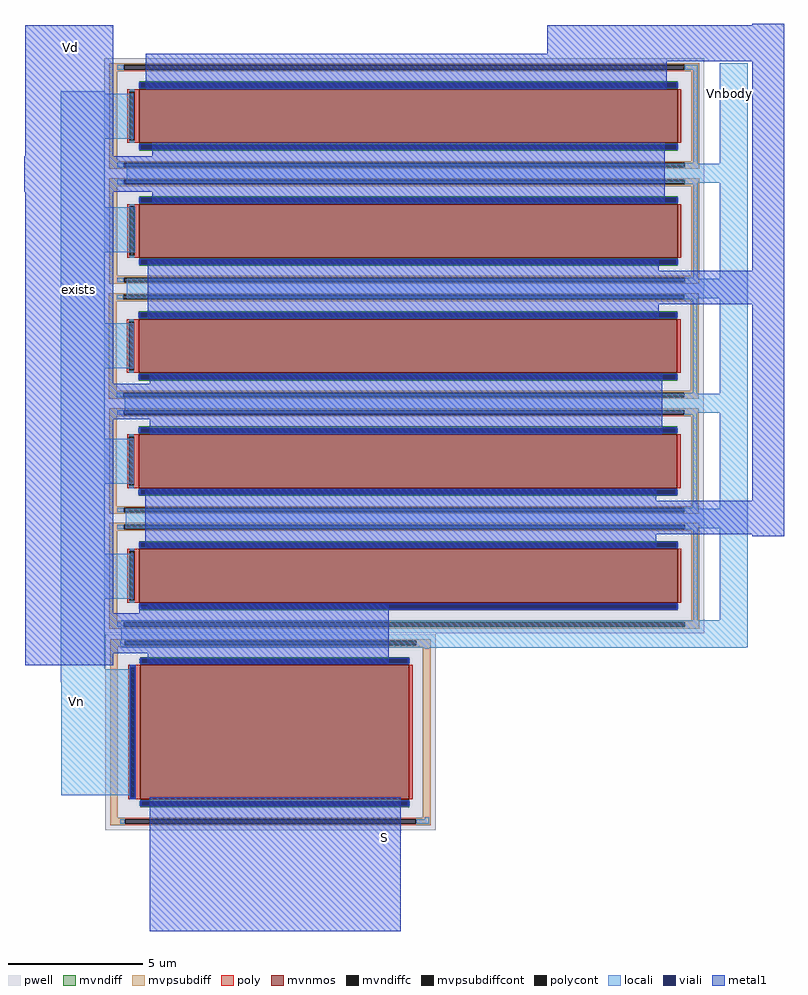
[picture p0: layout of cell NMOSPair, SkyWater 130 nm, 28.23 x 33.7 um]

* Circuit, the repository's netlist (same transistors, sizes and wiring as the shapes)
* SPICE3 file created from NMOSPair.ext - technology: sky130A

.subckt NMOSPair S Vn Vnbody Vd
X0 m1_n2132_2872# Vn Vd Vnbody sky130_fd_pr__nfet_g5v0d10v5 ad=0p pd=0u as=3.19e+13p ps=2.2348e+08u w=2e+07u l=2e+06u
X1 m1_n2132_2872# Vn Vd Vnbody sky130_fd_pr__nfet_g5v0d10v5 ad=0p pd=0u as=0p ps=0u w=2e+07u l=2e+06u
X2 Vd Vn S Vnbody sky130_fd_pr__nfet_g5v0d10v5 ad=0p pd=0u as=2.9e+12p ps=2.058e+07u w=1e+07u l=5e+06u
X3 Vd Vn m1_n2132_2872# Vnbody sky130_fd_pr__nfet_g5v0d10v5 ad=0p pd=0u as=0p ps=0u w=2e+07u l=2e+06u
X4 m1_n2132_2872# Vn Vd Vnbody sky130_fd_pr__nfet_g5v0d10v5 ad=0p pd=0u as=0p ps=0u w=2e+07u l=2e+06u
X5 Vd Vn m1_n2132_2872# Vnbody sky130_fd_pr__nfet_g5v0d10v5 ad=0p pd=0u as=0p ps=0u w=2e+07u l=2e+06u
.ends

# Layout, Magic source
magic
tech sky130A
magscale 1 2
<< locali >>
rect -2762 6244 -2434 6260
rect -2762 5910 -2218 6244
rect -2762 5398 -2434 5910
rect 2134 5724 2342 6470
rect -2270 5580 2342 5724
rect -2762 5064 -2208 5398
rect -2762 4538 -2434 5064
rect 2134 4868 2342 5580
rect -2270 4724 2342 4868
rect -2762 4204 -2218 4538
rect -2762 3680 -2434 4204
rect 2134 4016 2342 4724
rect -2284 3872 2342 4016
rect -2762 3346 -2220 3680
rect -2762 2826 -2434 3346
rect 2134 3160 2342 3872
rect -2278 3016 2342 3160
rect -2762 2492 -2218 2826
rect -2762 1968 -2434 2492
rect 2134 2330 2342 3016
rect -2312 2130 2342 2330
rect -2312 2128 2326 2130
rect -2762 1872 -2206 1968
rect -2758 1030 -2206 1872
<< metal1 >>
rect -3026 5780 -2370 6752
rect 2376 6750 2612 6762
rect 852 6540 2612 6750
rect -2128 6486 2612 6540
rect -2128 6276 1740 6486
rect -2082 5780 1726 5878
rect -3034 5516 1726 5780
rect -3026 4088 -2370 5516
rect -2082 5426 1726 5516
rect -2114 4928 1680 5008
rect 2376 4928 2612 6486
rect -2114 4680 2612 4928
rect -2114 4570 1680 4680
rect -2100 4088 1708 4166
rect -3026 3824 1708 4088
rect -3026 2384 -2370 3824
rect -2100 3714 1708 3824
rect -2132 3218 1662 3310
rect 2376 3218 2612 4680
rect -2132 2970 2612 3218
rect -2132 2872 1662 2970
rect 2376 2954 2612 2970
rect -2114 2430 -326 2448
rect -2178 2384 -326 2430
rect -3026 2088 -326 2384
rect -3026 1998 -2370 2088
rect -2114 2004 -326 2088
rect -2100 22 -234 1016
use sky130_fd_pr__nfet_g5v0d10v5_HYQESV  sky130_fd_pr__nfet_g5v0d10v5_HYQESV_0
transform 0 -1 -209 1 0 6077
box -428 -2227 428 2227
use sky130_fd_pr__nfet_g5v0d10v5_HYQESV  sky130_fd_pr__nfet_g5v0d10v5_HYQESV_1
transform 0 -1 -209 1 0 2662
box -428 -2227 428 2227
use sky130_fd_pr__nfet_g5v0d10v5_HYQESV  sky130_fd_pr__nfet_g5v0d10v5_HYQESV_2
transform 0 -1 -211 1 0 3513
box -428 -2227 428 2227
use sky130_fd_pr__nfet_g5v0d10v5_HYQESV  sky130_fd_pr__nfet_g5v0d10v5_HYQESV_3
transform 0 -1 -212 1 0 4369
box -428 -2227 428 2227
use sky130_fd_pr__nfet_g5v0d10v5_HYQESV  sky130_fd_pr__nfet_g5v0d10v5_HYQESV_4
transform 0 -1 -209 1 0 5223
box -428 -2227 428 2227
use sky130_fd_pr__nfet_g5v0d10v5_VSVLYK  sky130_fd_pr__nfet_g5v0d10v5_VSVLYK_0
transform 0 -1 -1203 1 0 1500
box -728 -1227 728 1227
<< labels >>
rlabel metal1 -2855 2839 -2396 6731 1 exists
rlabel metal1 -406 670 -308 762 5 S
port 3 s
rlabel locali 2162 6180 2258 6308 1 Vnbody
port 2 n
rlabel locali -2686 1674 -2600 1782 7 Vn
port 1 w
rlabel metal1 -2734 6520 -2638 6648 1 Vd
port 0 n
<< end >>

# cell sky130_fd_pr__nfet_g5v0d10v5_HYQESV: kit device sky130_fd_pr__nfet_g5v0d10v5, w 20 l 2 m 1 nf 1 diffcov 100 polycov 100 guard 1 glc 1 grc 1 gtc 0 gbc 0 tbcov 100 rlcov 100 topc 1 botc 0 poverlap 0 doverlap 1 lmin 0.50 wmin 0.42 compatible {sky130_fd_pr__nfet_01v8 sky130_fd_pr__nfet_01v8_lvt sky130_fd_bs_flash__special_sonosfet_star sky130_fd_pr__nfet_g5v0d10v5 sky130_fd_pr__nfet_05v0_nvt sky130_fd_pr__nfet_03v3_nvt} full_metal 1 viasrc 100 viadrn 100 viagate 100 viagb 0 viagr 0 viagl 0 viagt 0

# cell sky130_fd_pr__nfet_g5v0d10v5_VSVLYK: kit device sky130_fd_pr__nfet_g5v0d10v5, w 10 l 5 m 1 nf 1 diffcov 100 polycov 100 guard 1 glc 1 grc 1 gtc 0 gbc 1 tbcov 100 rlcov 100 topc 1 botc 0 poverlap 0 doverlap 1 lmin 0.50 wmin 0.42 compatible {sky130_fd_pr__nfet_01v8 sky130_fd_pr__nfet_01v8_lvt sky130_fd_bs_flash__special_sonosfet_star sky130_fd_pr__nfet_g5v0d10v5 sky130_fd_pr__nfet_05v0_nvt sky130_fd_pr__nfet_03v3_nvt} full_metal 1 viasrc 100 viadrn 100 viagate 100 viagb 0 viagr 0 viagl 0 viagt 0
